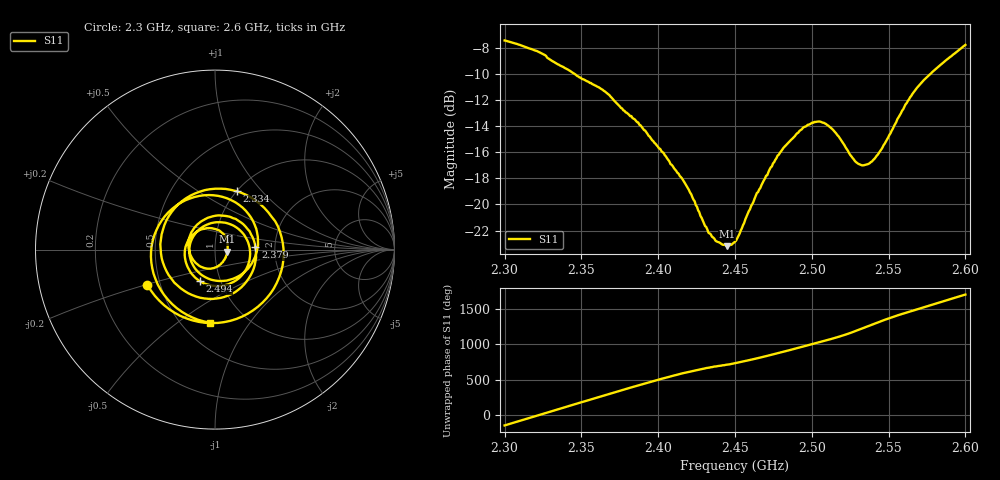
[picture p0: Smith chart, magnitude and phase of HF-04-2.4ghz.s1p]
! NanoVNA-App
! Date: 2026-05-22 18:38:26
! Start: 2.3GHz Stop: 2.6GHz Points: 401
! S-Parameter data: F S11
# Hz S RI R 50
!  Frequency  S11_Real  S11_Imag
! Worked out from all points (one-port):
!   401 points, 2.3 GHz to 2.6 GHz, reference 50 ohm
!   lowest |S11| = -23.2 dB at 2.445 GHz (marker M1), VSWR 1.15, Z = 57.3 - j1.31 ohm
!   |S11| at or under -10 dB: 2.346 GHz to 2.577 GHz (231.7 MHz wide, 9.41 % of centre)
!   S11 on the Smith chart (normalised r, x): 2.3 GHz: 0.42, -0.20; 2.334 GHz: 1.00, +0.74; 2.379 GHz: 1.58, +0.05; 2.494 GHz: 0.80, -0.29; 2.6 GHz: 0.68, -0.67
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2.3e9  -0.3768 -0.1962
2.30975e9  0.0159 -0.4085
2.3195e9  0.357 -0.1555
2.32625e9  0.3498 0.1309
2.33375e9  0.1201 0.3253
2.3375e9  -0.028 0.3365
2.345e9  -0.2575 0.1863
2.35175e9  -0.2968 -0.0489
2.363e9  -0.0373 -0.2741
2.375e9  0.2216 -0.0852
2.37875e9  0.225 0.0135
2.39225e9  0.00546 0.1892
2.40275e9  -0.1408 0.0731
2.4125e9  -0.1151 -0.0653
2.44475e9  0.0683 -0.0114
2.45e9  0.0705 0.0147
2.471e9  -0.0578 0.1158
2.4875e9  -0.1567 -0.0865
2.4935e9  -0.086 -0.1739
2.51075e9  0.1928 -0.0547
2.525e9  0.0264 0.1526
2.537e9  -0.1431 -0.0027
2.54825e9  0.0106 -0.1739
2.5625e9  0.2385 0.0716
2.57525e9  -0.06 0.3027
2.5865e9  -0.3527 0.0215
2.5925e9  -0.302 -0.2251
2.6e9  -0.0253 -0.4078
